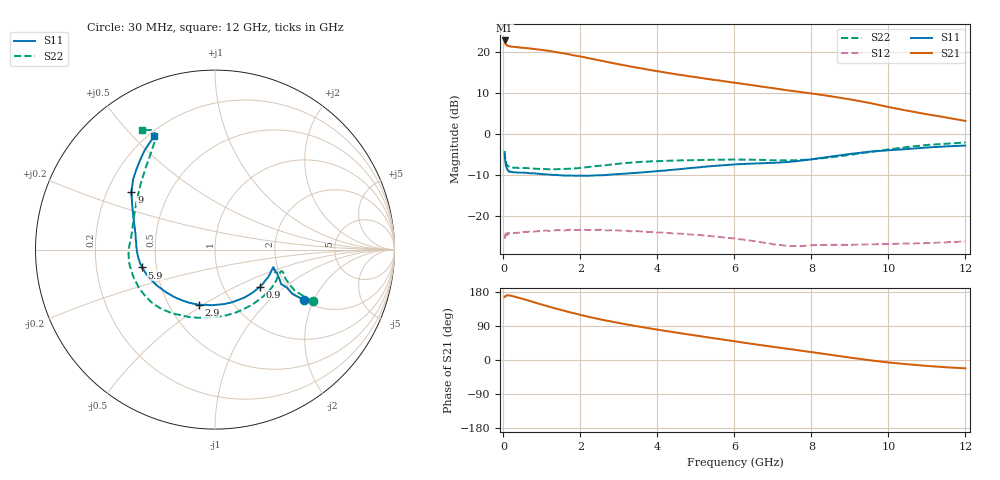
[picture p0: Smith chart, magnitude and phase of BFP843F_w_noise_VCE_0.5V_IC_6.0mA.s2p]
! Infineon Technologies  Discrete & RF Semiconductors
! BFP843F
! VCE =  0.5 V,  IC =  6.0 mA
! Common Emitter S-Parameters:  Aug 2013
# GHz  S  MA  R  50
!  f  S11  S21  S12  S22
! GHz  MAG  ANG  MAG  ANG  MAG  ANG  MAG  ANG
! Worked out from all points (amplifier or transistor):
!   103 points, 30 MHz to 12 GHz, reference 50 ohm
!   highest |S21| = 22.7 dB at 30 MHz (marker M1)
!   |S21| within 3 dB of that: start of sweep to 1.47 GHz
!   unconditionally stable (mu >= 1): 225.7 MHz to 388.5 MHz; 425.5 MHz to 455.6 MHz; 4.172 GHz to end of sweep
!   at 400 MHz: K = 1.00, MSG = 22.6 dB, |S12| = -24.1 dB
!   at 3.7 GHz: K = 0.96, MSG = 19.8 dB, |S12| = -24.0 dB
!   at 12 GHz: K = 1.61, MAG = 10.1 dB, |S12| = -26.3 dB
!   lowest NFmin = 0.80 dB at 450 MHz
!   S11 on the Smith chart (normalised r, x): 30 MHz: 2.03, -1.68; 900 MHz: 1.48, -0.68; 2.9 GHz: 0.70, -0.48; 5.9 GHz: 0.41, -0.10; 9 GHz: 0.30, +0.28; 12 GHz: 0.22, +0.58
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0.03  0.5693 -29.5  13.64 166.1  0.0523 34.4  0.6158 -28.0
0.04  0.4962 -29.8  12.95 166.6  0.056 26.4  0.5414 -27.6
0.05  0.4534 -27.9  12.45 168.8  0.0582 19.2  0.4974 -27.1
0.07  0.3971 -24.9  12.08 169.9  0.0585 15.7  0.4422 -23.8
0.1  0.3676 -20.1  11.74 170.4  0.0608 13.0  0.4077 -20.4
0.15  0.3469 -18.2  11.65 170.5  0.0605 7.0  0.3913 -18.1
0.9  0.3248 -39.3  10.6 149.1  0.065 1.4  0.3727 -47.4
1.2  0.317 -50.9  10.15 140.4  0.0654 0.3  0.3676 -62.3
1.5  0.3105 -62.5  9.609 132.1  0.0668 -0.7  0.3697 -76.2
2.1  0.3071 -84.0  8.524 116.6  0.0674 -4.3  0.3865 -101.0
2.5  0.3109 -96.0  7.786 107.5  0.0675 -6.2  0.4058 -113.6
2.9  0.3205 -106.6  7.139 99.6  0.0664 -8.3  0.4252 -123.5
3.4  0.3314 -118.7  6.448 90.3  0.0648 -10.4  0.4477 -133.4
4.1  0.3528 -134.0  5.663 78.5  0.0624 -13.3  0.4634 -144.5
5  0.3858 -151.3  4.876 64.5  0.0585 -16.0  0.4761 -157.4
5.9  0.4189 -166.3  4.232 51.0  0.0533 -17.9  0.483 -170.2
6.1  0.4249 -169.8  4.119 47.9  0.052 -17.9  0.4833 -173.1
7  0.4405 175.4  3.583 34.8  0.0449 -15.8  0.474 174.2
8.5  0.5252 151.5  2.855 13.6  0.0443 -4.0  0.5136 148.3
9  0.5652 145.5  2.616 6.4  0.0442 -2.6  0.5516 138.8
10.5  0.6497 130.0  1.9 -11.3  0.0459 4.0  0.6878 119.3
12  0.7161 118.2  1.428 -22.0  0.0486 12.1  0.7798 121.3
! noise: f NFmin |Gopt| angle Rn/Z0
0.45  0.8  0.11  13  0.05
0.9  0.82  0.12  23  0.06
1.5  0.87  0.12  32  0.06
1.9  0.92  0.12  47  0.06
2.4  0.96  0.13  61  0.07
3.5  1.03  0.14  93  0.12
5.5  1.14  0.16  159  0.17
10  1.81  0.38  -122  0.23
